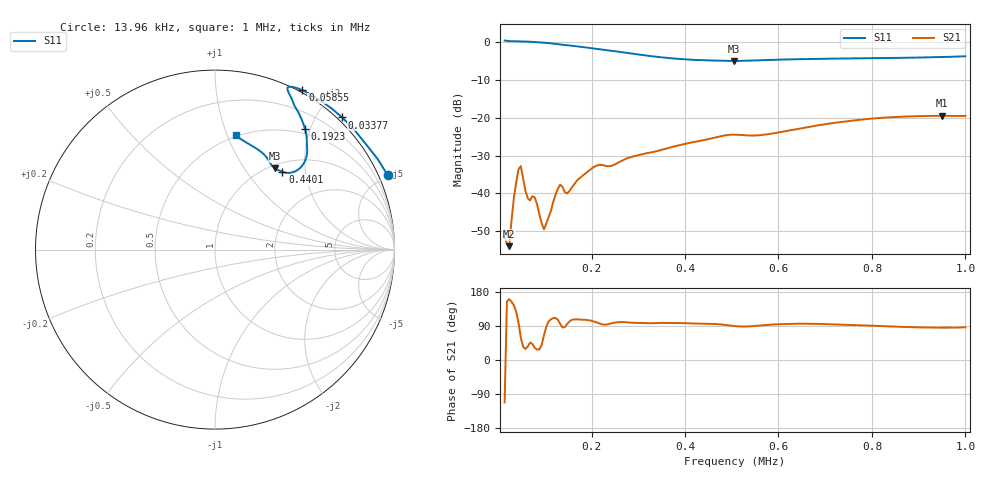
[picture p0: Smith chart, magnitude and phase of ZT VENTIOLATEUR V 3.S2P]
!Agilent Technologies,E5071C,MY46109397,A.09.54
!Date: Mon Jan 01 02:04:13 2001
!Data & Calibration Information:
!Freq	S11:SOLT1(ON)	S21:RESPT(ON)	S12:NONE(--)	S22:NONE(--)
# Hz S RI R 50
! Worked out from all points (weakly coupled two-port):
!   200 points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, 13.96 kHz to 1 MHz, reference 50 ohm
!   highest |S21| = -19.50 dB at 950.5 kHz (marker M1); lowest = -53.9 dB at 23.86 kHz (marker M2)
!   lowest |S11| = -5.0 dB at 504.5 kHz (marker M3), VSWR 3.56, Z = 52.7 + j69.6 ohm
!   |S11| at or under -10 dB: nowhere
!   S12 and S22 are empty: the file has one direction only
!   S11 on the Smith chart (normalised r, x): 13.96 kHz: -0.56, +4.78; 33.77 kHz: -0.07, +2.35; 58.55 kHz: -0.02, +1.69; 192.3 kHz: 0.42, +1.92; 440.1 kHz: 1.16, +1.50; 1 MHz: 0.49, +1.07
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13955  0.9615 0.4148  -0.001 -0.0025  0 0  0 0
23865  0.8331 0.5973  -0.0019 0.00067  0 0  0 0
33775  0.7083 0.7361  -0.00712 0.00507  0 0  0 0
43685  0.6013 0.8208  -0.00313 0.0206  0 0  0 0
48640  0.5542 0.8496  0.0118 0.0197  0 0  0 0
58550  0.4868 0.8882  0.00945 0.00524  0 0  0 0
68460  0.4428 0.904  0.0056 0.00582  0 0  0 0
78370  0.4157 0.9074  0.00753 0.00467  0 0  0 0
98190  0.4042 0.8913  0.00141 0.00305  0 0  0 0
132875  0.4368 0.8167  -0.00122 0.013  0 0  0 0
147740  0.4533 0.7846  -0.000835 0.00997  0 0  0 0
182425  0.4933 0.6979  -0.00493 0.0168  0 0  0 0
192335  0.5012 0.6732  -0.00507 0.0189  0 0  0 0
212155  0.5107 0.6254  -0.00349 0.0232  0 0  0 0
345940  0.4524 0.4391  -0.00505 0.0367  0 0  0 0
440085  0.376 0.4334  -0.00519 0.0503  0 0  0 0
504500  0.333 0.4525  0.000318 0.0597  0 0  0 0
509455  0.3295 0.455  0.000909 0.0596  0 0  0 0
672970  0.272 0.5314  -0.00736 0.0768  0 0  0 0
836485  0.2031 0.5795  0.00238 0.1011  0 0  0 0
950450  0.1417 0.617  0.00879 0.1055  0 0  0 0
1000000  0.1153 0.6367  0.0068 0.1052  0 0  0 0
